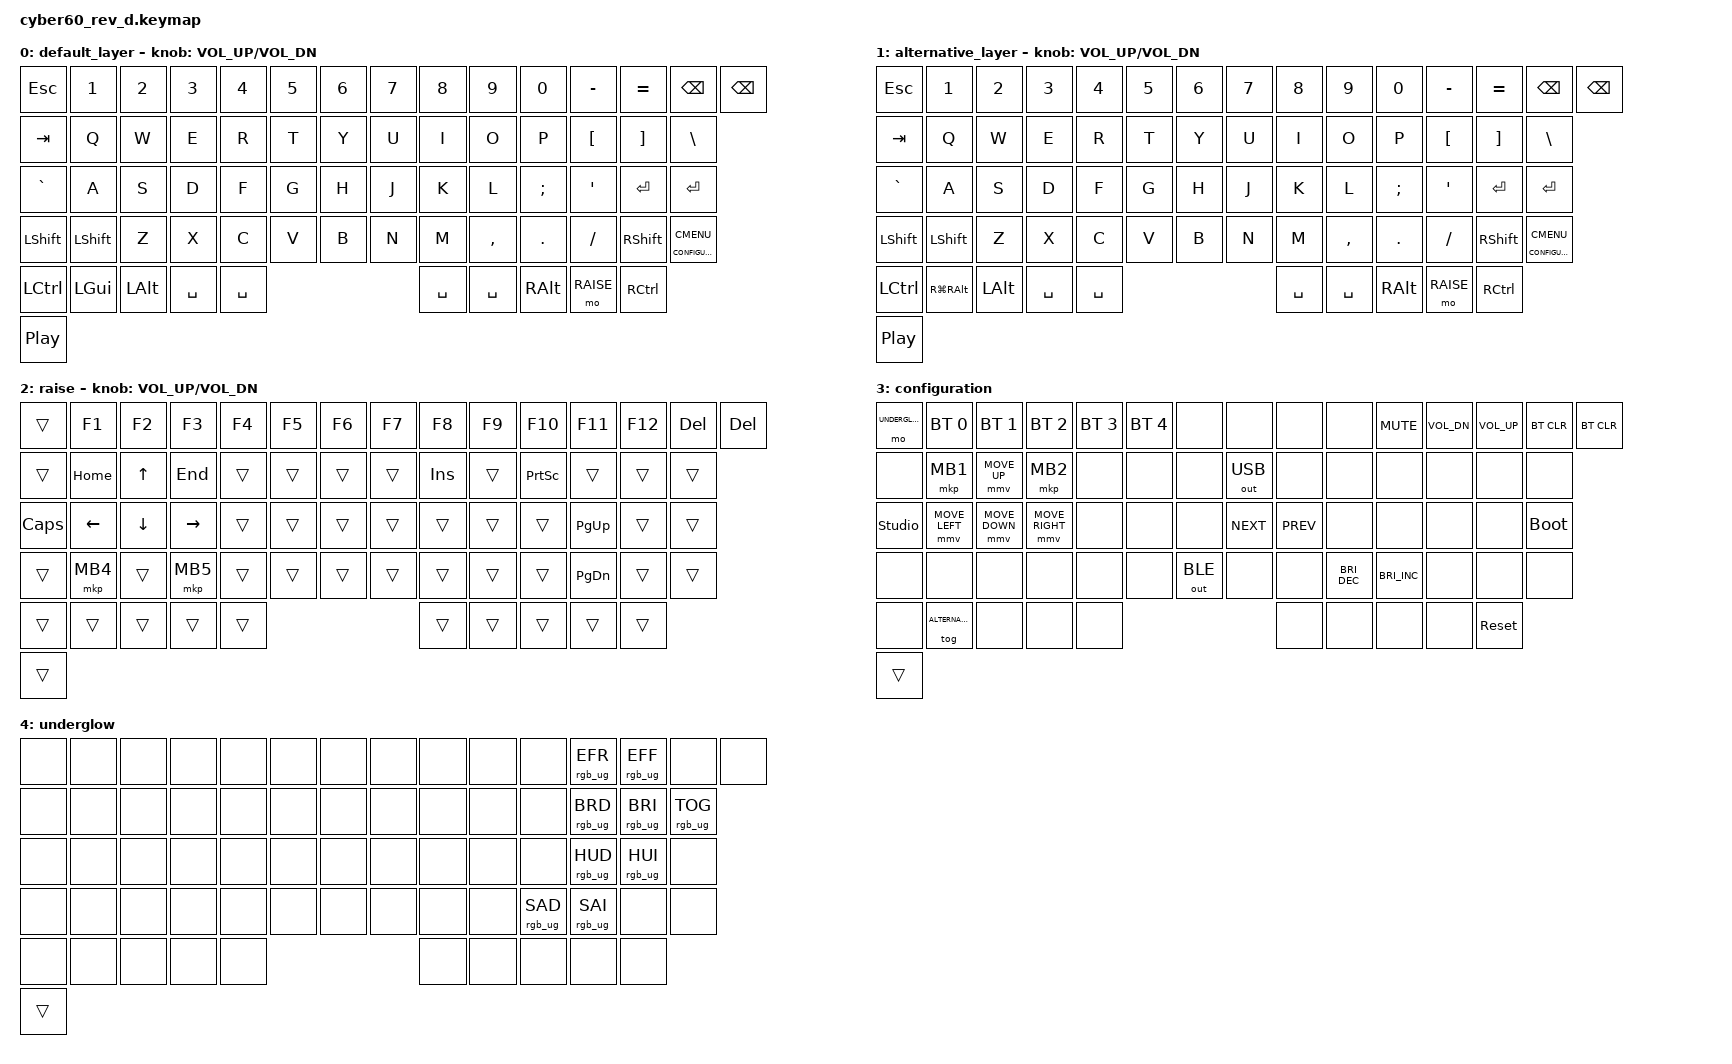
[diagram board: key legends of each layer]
#include <behaviors.dtsi>
#include <dt-bindings/zmk/bt.h>
#include <dt-bindings/zmk/keys.h>
#include <dt-bindings/zmk/rgb.h>
#include <dt-bindings/zmk/outputs.h>

#define ZMK_POINTING_DEFAULT_MOVE_VAL 4000  // QMK: MOVE_DELTA(8) * MAX_SPEED(10) = 80/20ms = 4000/s

#include <dt-bindings/zmk/pointing.h>

#define DEFAULT         0
#define ALTERNATIVE     1
#define RAISE           2
#define CONFIGURATION   3
#define UNDERGLOW       4

/ {
    behaviors {
        td0: tap_dance_0 {
            compatible = "zmk,behavior-tap-dance";
            #binding-cells = <0>;
            tapping-term-ms = <200>;
            bindings = <&kp LGUI>, <&kp RG(RIGHT_ALT)>;
        };
        kt_on: key_toggle_on_only {
            compatible = "zmk,behavior-key-toggle";
            #binding-cells = <1>;
            display-name = "Key Toggle On";
            toggle-mode = "on";
        };
    };
	keymap {
		compatible = "zmk,keymap";

		default_layer {
// ┌────┬────┬────┬────┬────┬────┬────┬────┬────┬────┬────┬────┬────┬────┬────┐
// │ESC │ 1  │ 2  │ 3  │ 4  │ 5  │ 6  │ 7  │ 8  │ 9  │ 0  │ -  │ =  │BSP │BSP │
// ├────┴──┬─┴──┬─┴──┬─┴──┬─┴──┬─┴──┬─┴──┬─┴──┬─┴──┬─┴──┬─┴──┬─┴──┬─┴──┬─┴────┤
// │ TAB   │ Q  │ W  │ E  │ R  │ T  │ Y  │ U  │ I  │ O  │ P  │ [  │ ]  │  \   │
// ├───────┴┬───┴┬───┴┬───┴┬───┴┬───┴┬───┴┬───┴┬───┴┬───┴┬───┴┬───┴┬───┴┬─────┤
// │ GRAVE  │ A  │ S  │ D  │ F  │ G  │ H  │ J  │ K  │ L  │ ;  │ '  │RET │RET  │
// ├────────┴──┬─┴──┬─┴──┬─┴──┬─┴──┬─┴──┬─┴──┬─┴──┬─┴──┬─┴──┬─┴──┬─┴────┴─┬───┤
// │ SHIFT     │ Z  │ X  │ C  │ V  │ B  │ N  │ M  │ ,  │ .  │ /  │ SHIFT  │FN │
// ├─────┬─────┴┬───┴─┬──┴────┴────┴────┴────┴────┴───┬┴────┼────┴┬───────┴───┤
// │CTRL │ WIN  │ ALT │         SPACE                 │ ALT │RSE  │   CTRL    │
// └─────┴──────┴─────┴───────────────────────────────┴─────┴─────┴───────────┘
//                      Encoder: Play/Pause
			bindings = <
	&kp ESC     &kp N1     &kp N2      &kp N3      &kp N4      &kp N5      &kp N6      &kp N7      &kp N8      &kp N9      &kp N0      &kp MINUS   &kp EQUAL   &kp BSPC    &kp BSPC
	&kp TAB     &kp Q      &kp W       &kp E       &kp R       &kp T       &kp Y       &kp U       &kp I       &kp O       &kp P       &kp LBKT    &kp RBKT    &kp BSLH
	&kp GRAVE   &kp A      &kp S       &kp D       &kp F       &kp G       &kp H       &kp J       &kp K       &kp L       &kp SEMI    &kp SQT     &kp RET     &kp RET
	&kp LSHFT   &kp LSHFT  &kp Z       &kp X       &kp C       &kp V       &kp B       &kp N       &kp M       &kp COMMA   &kp DOT     &kp FSLH    &kp RSHFT   &lt CONFIGURATION K_CMENU
	&kp LCTRL   &kp LGUI        &kp LALT        &kp SPACE       &kp SPACE       &kp SPACE       &kp SPACE       &kp RALT        &mo RAISE       &kp RCTRL
	&kp C_PP
			>;
	sensor-bindings = <&inc_dec_kp C_VOL_UP C_VOL_DN>;
		};

		alternative_layer {
// ┌────┬────┬────┬────┬────┬────┬────┬────┬────┬────┬────┬────┬────┬────┬────┐
// │ESC │ 1  │ 2  │ 3  │ 4  │ 5  │ 6  │ 7  │ 8  │ 9  │ 0  │ -  │ =  │BSP │BSP │
// ├────┴──┬─┴──┬─┴──┬─┴──┬─┴──┬─┴──┬─┴──┬─┴──┬─┴──┬─┴──┬─┴──┬─┴──┬─┴──┬─┴────┤
// │ TAB   │ Q  │ W  │ E  │ R  │ T  │ Y  │ U  │ I  │ O  │ P  │ [  │ ]  │  \   │
// ├───────┴┬───┴┬───┴┬───┴┬───┴┬───┴┬───┴┬───┴┬───┴┬───┴┬───┴┬───┴┬───┴┬─────┤
// │ GRAVE  │ A  │ S  │ D  │ F  │ G  │ H  │ J  │ K  │ L  │ ;  │ '  │RET │RET  │
// ├────────┴──┬─┴──┬─┴──┬─┴──┬─┴──┬─┴──┬─┴──┬─┴──┬─┴──┬─┴──┬─┴──┬─┴────┴─┬───┤
// │ SHIFT     │ Z  │ X  │ C  │ V  │ B  │ N  │ M  │ ,  │ .  │ /  │ SHIFT  │FN │
// ├─────┬─────┴┬───┴─┬──┴────┴────┴────┴────┴────┴───┬┴────┼────┴┬───────┴───┤
// │CTRL │WIN+  │ ALT │         SPACE                 │ ALT │RSE  │   CTRL    │
// │     │RALT  │     │                               │     │     │           │
// └─────┴──────┴─────┴───────────────────────────────┴─────┴─────┴───────────┘
//                      Encoder: Play/Pause
			bindings = <
	&kp ESC     &kp N1              &kp N2      &kp N3      &kp N4      &kp N5      &kp N6      &kp N7      &kp N8      &kp N9      &kp N0      &kp MINUS   &kp EQUAL   &kp BSPC    &kp BSPC
	&kp TAB     &kp Q               &kp W       &kp E       &kp R       &kp T       &kp Y       &kp U       &kp I       &kp O       &kp P       &kp LBKT    &kp RBKT    &kp BSLH
	&kp GRAVE   &kp A               &kp S       &kp D       &kp F       &kp G       &kp H       &kp J       &kp K       &kp L       &kp SEMI    &kp SQT     &kp RET     &kp RET
	&kp LSHFT   &kp LSHFT           &kp Z       &kp X       &kp C       &kp V       &kp B       &kp N       &kp M       &kp COMMA   &kp DOT     &kp FSLH    &kp RSHFT   &lt CONFIGURATION K_CMENU
	&kp LCTRL   &kp RG(RIGHT_ALT)   &kp LALT        &kp SPACE       &kp SPACE       &kp SPACE       &kp SPACE       &kp RALT        &mo RAISE       &kp RCTRL
	&kp C_PP
			>;
	sensor-bindings = <&inc_dec_kp C_VOL_UP C_VOL_DN>;
		};

		raise {
// ┌────┬────┬────┬────┬────┬────┬────┬────┬────┬────┬────┬────┬────┬────┬────┐
// │    │ F1 │ F2 │ F3 │ F4 │ F5 │ F6 │ F7 │ F8 │ F9 │F10 │F11 │F12 │DEL │DEL │
// ├────┴──┬─┴──┬─┴──┬─┴──┬─┴──┬─┴──┬─┴──┬─┴──┬─┴──┬─┴──┬─┴──┬─┴──┬─┴──┬─┴────┤
// │       │HOM │ ↑  │END │    │    │    │    │INS │    │PSC │    │    │      │
// ├───────┴┬───┴┬───┴┬───┴┬───┴┬───┴┬───┴┬───┴┬───┴┬───┴┬───┴┬───┴┬───┴┬─────┤
// │ CAPS   │ ←  │ ↓  │ →  │    │    │    │    │    │    │    │PGU │    │     │
// ├────────┴──┬─┴──┬─┴──┬─┴──┬─┴──┬─┴──┬─┴──┬─┴──┬─┴──┬─┴──┬─┴──┬─┴────┴─┬───┤
// │           │MB4 │    │MB5 │    │    │    │    │    │    │PGD │        │   │
// ├─────┬─────┴┬───┴─┬──┴────┴────┴────┴────┴────┴───┬┴────┼────┴┬───────┴───┤
// │     │      │     │                               │     │     │           │
// └─────┴──────┴─────┴───────────────────────────────┴─────┴─────┴───────────┘
//                     Encoder: Volume Up/Down
			bindings = <
	&trans      &kp F1          &kp F2      &kp F3      &kp F4      &kp F5      &kp F6      &kp F7      &kp F8      &kp F9      &kp F10     &kp F11     &kp F12     &kp DEL     &kp DEL
	&trans      &kp HOME        &kp UP      &kp END     &trans      &trans      &trans      &trans      &kp INS     &trans      &kp PSCRN   &trans      &trans      &trans
	&kp CAPS    &kp LEFT        &kp DOWN    &kp RIGHT   &trans      &trans      &trans      &trans      &trans      &trans      &trans      &kp PG_UP   &trans      &trans
	&trans      &mkp MB4        &trans      &mkp MB5    &trans      &trans      &trans      &trans      &trans      &trans      &trans      &kp PG_DN   &trans      &trans
	&trans      &trans          &trans          &trans          &trans          &trans          &trans          &trans          &trans          &trans
	&trans
			>;
	sensor-bindings = <&inc_dec_kp C_VOL_UP C_VOL_DN>;
		};

		configuration {
// ┌────┬────┬────┬────┬────┬────┬────┬────┬────┬────┬────┬────┬────┬────┬────┐
// │UND │BT0 │BT1 │BT2 │BT3 │BT4 │    │    │    │    │MUT │VOL-│VOL+│BTCL│BTCL│
// ├────┴──┬─┴──┬─┴──┬─┴──┬─┴──┬─┴──┬─┴──┬─┴──┬─┴──┬─┴──┬─┴──┬─┴──┬─┴──┬─┴────┤
// │       │MB1 │M↑  │MB2 │    │    │    │USB │    │    │    │    │    │      │
// ├───────┴┬───┴┬───┴┬───┴┬───┴┬───┴┬───┴┬───┴┬───┴┬───┴┬───┴┬───┴┬───┴┬─────┤
// │STUDIO  │M←  │M↓  │M→  │    │    │    │NXT │PRV │    │    │    │    │BOOT │
// ├────────┴──┬─┴──┬─┴──┬─┴──┬─┴──┬─┴──┬─┴──┬─┴──┬─┴──┬─┴──┬─┴──┬─┴────┴─┬───┤
// │           │    │    │    │    │    │BLE │    │    │BR- │BR+ │        │   │
// ├─────┬─────┴┬───┴─┬──┴────┴────┴────┴────┴────┴───┬┴────┼────┴┬───────┴───┤
// │     │ TALT │     │                               │     │     │   RST     │
// └─────┴──────┴─────┴───────────────────────────────┴─────┴─────┴───────────┘
//                     Encoder: Volume Up/Down
			bindings = <
	&mo UNDERGLOW   &bt BT_SEL 0    &bt BT_SEL 1    &bt BT_SEL 2    &bt BT_SEL 3    &bt BT_SEL 4    &none           &none           &none       &none           &kp C_MUTE      &kp C_VOL_DN    &kp C_VOL_UP    &bt BT_CLR      &bt BT_CLR
	&none           &mkp MB1        &mmv MOVE_UP    &mkp MB2        &none           &none           &none           &out OUT_USB    &none       &none           &none           &none           &none           &none
	&studio_unlock  &mmv MOVE_LEFT  &mmv MOVE_DOWN  &mmv MOVE_RIGHT &none           &none           &none           &kp C_NEXT      &kp C_PREV  &none           &none           &none           &none           &bootloader
	&none           &none           &none           &none           &none           &none           &out OUT_BLE    &none           &none       &kp C_BRI_DEC   &kp C_BRI_INC   &none           &none           &none
	&none           &tog ALTERNATIVE &none           &none           &none           &none           &none           &none           &none           &sys_reset
	&trans
			>;
        };

		underglow {
// ┌────┬────┬────┬────┬────┬────┬────┬────┬────┬────┬────┬────┬────┬────┬────┐
// │    │    │    │    │    │    │    │    │    │    │    │EF← │EF→ │    │    │
// ├────┴──┬─┴──┬─┴──┬─┴──┬─┴──┬─┴──┬─┴──┬─┴──┬─┴──┬─┴──┬─┴──┬─┴──┬─┴──┬─┴────┤
// │       │    │    │    │    │    │    │    │    │    │    │RGB-│RGB+│ TOG  │
// ├───────┴┬───┴┬───┴┬───┴┬───┴┬───┴┬───┴┬───┴┬───┴┬───┴┬───┴┬───┴┬───┴┬─────┤
// │        │    │    │    │    │    │    │    │    │    │    │HUE-│HUE+│     │
// ├────────┴──┬─┴──┬─┴──┬─┴──┬─┴──┬─┴──┬─┴──┬─┴──┬─┴──┬─┴──┬─┴──┬─┴────┴─┬───┤
// │           │    │    │    │    │    │    │    │    │    │SAT-│SAT+    │   │
// ├─────┬─────┴┬───┴─┬──┴────┴────┴────┴────┴────┴───┬┴────┼────┴┬───────┴───┤
// │     │      │     │                               │     │     │           │
// └─────┴──────┴─────┴───────────────────────────────┴─────┴─────┴───────────┘
//                     Encoder: Volume Up/Down
			bindings = <
	&none   &none   &none   &none   &none   &none   &none   &none   &none   &none   &none           &rgb_ug RGB_EFR &rgb_ug RGB_EFF &none           &none
	&none   &none   &none   &none   &none   &none   &none   &none   &none   &none   &none           &rgb_ug RGB_BRD &rgb_ug RGB_BRI &rgb_ug RGB_TOG
	&none   &none   &none   &none   &none   &none   &none   &none   &none   &none   &none           &rgb_ug RGB_HUD &rgb_ug RGB_HUI &none
	&none   &none   &none   &none   &none   &none   &none   &none   &none   &none   &rgb_ug RGB_SAD &rgb_ug RGB_SAI &none           &none
	&none           &none           &none           &none           &none           &none           &none           &none           &none           &none
	&trans
			>;
        };
	};
};

// QMK-like accelerated mouse cursor motion
// QMK defaults: MOUSEKEY_DELAY=10, MOUSEKEY_INTERVAL=20, MOUSEKEY_TIME_TO_MAX=30
// MOUSEKEY_MOVE_DELTA=8, MOUSEKEY_MAX_SPEED=10 → max 80 counts per 20ms = 4000 counts/s
// QMK acceleration is linear: delta = MOVE_DELTA * MAX_SPEED * step / TIME_TO_MAX
&mmv {
    delay-ms = <10>;              // MOUSEKEY_DELAY = 10ms
    trigger-period-ms = <20>;     // MOUSEKEY_INTERVAL = 20ms
    time-to-max-speed-ms = <600>; // MOUSEKEY_TIME_TO_MAX(30) * MOUSEKEY_INTERVAL(20) = 600ms
    acceleration-exponent = <1>;  // QMK uses linear acceleration (not quadratic)
};
